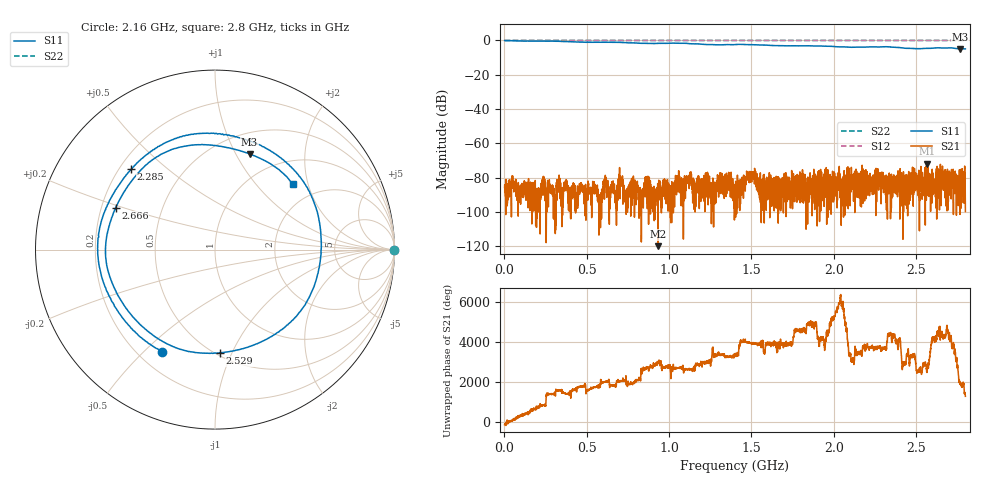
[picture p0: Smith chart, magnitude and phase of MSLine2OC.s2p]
! Anritsu VNA Master:  Model: MS2025B
! SN:  1642059
! /bd0/PROE/TP1/MSLine2OC.s2p
! Existing Calibration Information:
! TYPE:  Current Settings,  Active Cal Settings
! TIME:  04/16/2024 08:36:44 AM,  03/12/2018 11:45:53 AM
! INTERNAL TEMP:  42.0 C,  40.8 C
! # POINTS:  4001,  4001
! START FREQ:  1.000 MHz,  1.000 MHz
! STOP FREQ:  2.800 GHz,  2.800 GHz
! SOURCE POWER:  Default,  Default
! IFBW:  1 kHz,  1 kHz
! AVG FACTOR:  1 ,  1
! REF PLANE 1:  0 mm,  0 mm
! REF PLANE 2:  0 mm,  0 mm
! CAL TYPE:  1P2P S11,S21,  1P2P S11,S21
! CAL METHOD:  SOLT,  SOLT
! CAL LINE TYPE:  Coax,  Coax
! DUT PORT 1:  ,
! DUT PORT 2:  N-Conn(M),  N-Conn(M)
! CAL STATUS:  OK: Accuracy High,  --
# GHZ S MA R 50.0
! FREQ.GHZ  S11M  S11A  S21M  S21A  S12M  S12A  S22M  S22A
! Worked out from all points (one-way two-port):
!   4001 points, 1 MHz to 2.8 GHz, reference 50 ohm
!   highest |S21| = -71.92 dB at 2.566 GHz (marker M1); lowest = -120.0 dB at 932.4 MHz (marker M2)
!   lowest |S11| = -4.9 dB at 2.766 GHz (marker M3), VSWR 3.61, Z = 36.3 + j57 ohm
!   |S11| at or under -10 dB: nowhere
!   |S22| runs from 0.0 to 0.0 dB; largest |S21 - S12| = 1
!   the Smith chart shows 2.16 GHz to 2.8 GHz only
!   S11 on the Smith chart (normalised r, x): 2.16 GHz: 0.30, -0.57; 2.285 GHz: 0.25, +0.38; 2.529 GHz: 0.52, -0.90; 2.666 GHz: 0.26, +0.19; 2.8 GHz: 1.49, +1.61
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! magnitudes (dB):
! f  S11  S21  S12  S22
! 1 MHz  0.0  -85.7  0.0  0.0
! 467.7 MHz  -1.0  -86.8  0.0  0.0
! 932.4 MHz  -1.7  -120.0  0.0  0.0
! 934.5 MHz  -1.7  -83.7  0.0  0.0
! 1.122 GHz  -1.8  -86.4  0.0  0.0
! 1.151 GHz  -2.0  -98.4  0.0  0.0
! 1.401 GHz  -2.4  -93.9  0.0  0.0
! 1.52 GHz  -2.5  -75.3  0.0  0.0
! 1.549 GHz  -2.6  -88.0  0.0  0.0
! 1.867 GHz  -3.2  -89.2  0.0  0.0
! 2.16 GHz  -3.9  -85.6  0.0  0.0
! 2.285 GHz  -3.8  -82.4  0.0  0.0
! 2.334 GHz  -3.7  -81.9  0.0  0.0
! 2.452 GHz  -4.6  -82.5  0.0  0.0
! 2.491 GHz  -4.7  -83.3  0.0  0.0
! 2.529 GHz  -4.8  -76.1  0.0  0.0
! 2.566 GHz  -4.6  -71.9  0.0  0.0
! 2.601 GHz  -4.5  -84.5  0.0  0.0
! 2.636 GHz  -4.3  -86.2  0.0  0.0
! 2.666 GHz  -4.4  -87.3  0.0  0.0
! 2.766 GHz  -4.9  -79.3  0.0  0.0
! 2.8 GHz  -4.9  -99.8  0.0  0.0
